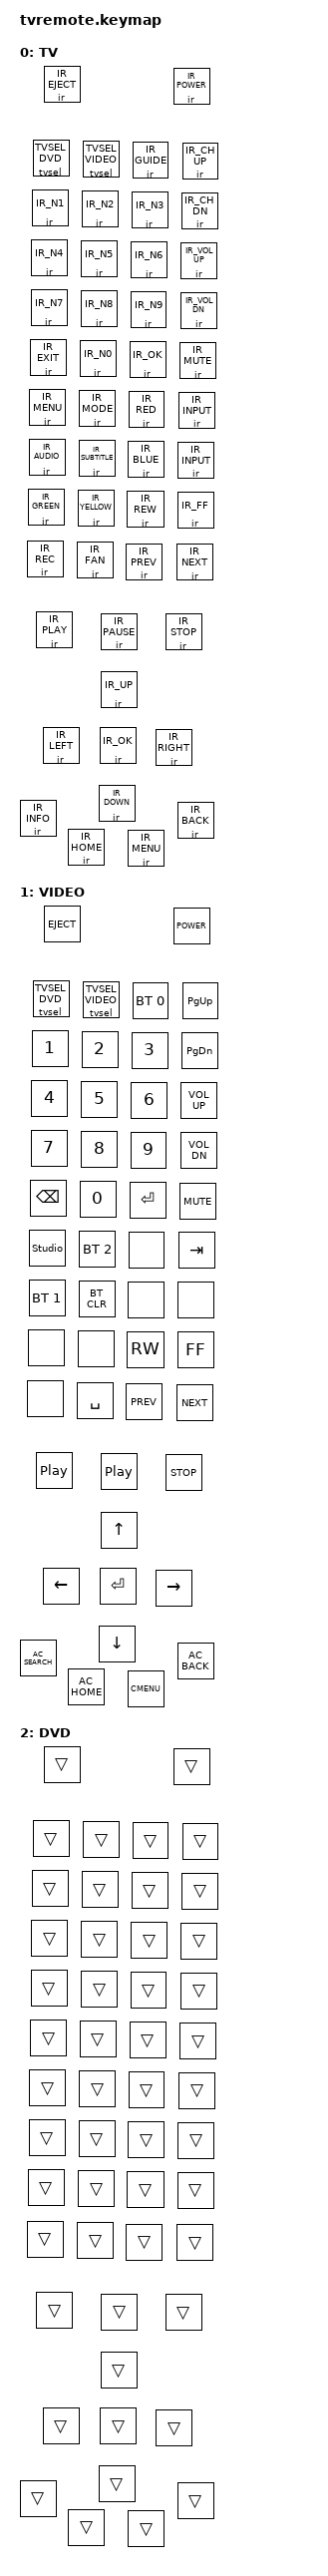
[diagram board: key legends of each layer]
/*
 * Sony RMT-V501F TV remote, modes as on the original (src/tvremote_mode.c):
 *   switch TV                         layer 0: infrared, code set 0
 *   switch DVD/VIDEO, SELECT VIDEO    layer 1: Bluetooth keyboard and media keys
 *   switch DVD/VIDEO, SELECT DVD      layer 2: infrared like TV, code set 1
 * Hold POWER while putting the batteries in (or plugging USB) for the
 * flashing bootloader.
 *
 * Generated by bt-remote/pcb/make_zmk.py: edit the tables there, not here.
 */

#include <behaviors.dtsi>
#include <behaviors/ir.dtsi>
#include <behaviors/tvremote.dtsi>
#include <dt-bindings/zmk/keys.h>
#include <dt-bindings/zmk/bt.h>

/ {
    keymap {
        compatible = "zmk,keymap";

        tv_layer {
            display-name = "TV";
            bindings = <
                // row 0
                &ir IR_N1              // 1
                &tvsel TVSEL_DVD       // DVD
                &ir IR_EJECT           // EJECT
                &tvsel TVSEL_VIDEO     // VIDEO
                &ir IR_GUIDE           // VCR PLUS
                &ir IR_POWER           // POWER
                &ir IR_CH_UP           // CH+

                // row 1
                &ir IR_N4              // 4
                &ir IR_N5              // 5
                &ir IR_N2              // 2
                &ir IR_N6              // 6
                &ir IR_N3              // 3
                &ir IR_VOL_UP          // VOL+
                &ir IR_CH_DN           // CH-

                // row 2
                &ir IR_EXIT            // CLEAR
                &ir IR_N7              // 7
                &ir IR_N0              // 0
                &ir IR_N8              // 8
                &ir IR_OK              // ENTER
                &ir IR_N9              // 9
                &ir IR_VOL_DN          // VOL-

                // row 3
                &ir IR_AUDIO           // AUDIO
                &ir IR_MENU            // SET UP
                &ir IR_SUBTITLE        // SUBTITLE
                &ir IR_MODE            // ANGLE
                &ir IR_RED             // REPEAT
                &ir IR_INPUT           // TV/VIDEO
                &ir IR_MUTE            // ZOOM

                // row 4
                &ir IR_REC             // REC
                &ir IR_GREEN           // REPEAT2
                &ir IR_YELLOW          // SKIP
                &ir IR_REW             // SCAN REW
                &ir IR_BLUE            // SURROUND
                &ir IR_FF              // SCAN F.F
                &ir IR_INPUT           // INPUT

                // row 5
                &ir IR_PLAY            // PLAY
                &ir IR_FAN             // SP/EP
                &ir IR_UP              // UP
                &ir IR_PAUSE           // PAUSE
                &ir IR_PREV            // PREV
                &ir IR_STOP            // STOP
                &ir IR_NEXT            // NEXT

                // row 6
                &ir IR_INFO            // DISPLAY
                &ir IR_LEFT            // LEFT
                &ir IR_HOME            // TOP MENU
                &ir IR_DOWN            // DOWN
                &ir IR_OK              // SELECT
                &ir IR_RIGHT           // RIGHT
                &ir IR_BACK            // RETURN

                // row 7
                &ir IR_MENU            // MENU
            >;
        };

        video_layer {
            display-name = "VIDEO";
            bindings = <
                // row 0
                &kp N1                 // 1
                &tvsel TVSEL_DVD       // DVD
                &kp C_EJECT            // EJECT
                &tvsel TVSEL_VIDEO     // VIDEO
                &bt BT_SEL 0           // VCR PLUS
                &kp C_POWER            // POWER
                &kp PG_UP              // CH+

                // row 1
                &kp N4                 // 4
                &kp N5                 // 5
                &kp N2                 // 2
                &kp N6                 // 6
                &kp N3                 // 3
                &kp C_VOL_UP           // VOL+
                &kp PG_DN              // CH-

                // row 2
                &kp BSPC               // CLEAR
                &kp N7                 // 7
                &kp N0                 // 0
                &kp N8                 // 8
                &kp RET                // ENTER
                &kp N9                 // 9
                &kp C_VOL_DN           // VOL-

                // row 3
                &bt BT_SEL 1           // AUDIO
                &studio_unlock         // SET UP
                &bt BT_CLR             // SUBTITLE
                &bt BT_SEL 2           // ANGLE
                &none                  // REPEAT
                &kp TAB                // TV/VIDEO
                &kp C_MUTE             // ZOOM

                // row 4
                &none                  // REC
                &none                  // REPEAT2
                &none                  // SKIP
                &kp C_RW               // SCAN REW
                &none                  // SURROUND
                &kp C_FF               // SCAN F.F
                &none                  // INPUT

                // row 5
                &kp C_PP               // PLAY
                &kp SPACE              // SP/EP
                &kp UP                 // UP
                &kp C_PP               // PAUSE
                &kp C_PREV             // PREV
                &kp C_STOP             // STOP
                &kp C_NEXT             // NEXT

                // row 6
                &kp C_AC_SEARCH        // DISPLAY
                &kp LEFT               // LEFT
                &kp C_AC_HOME          // TOP MENU
                &kp DOWN               // DOWN
                &kp RET                // SELECT
                &kp RIGHT              // RIGHT
                &kp C_AC_BACK          // RETURN

                // row 7
                &kp K_CMENU            // MENU
            >;
        };

        dvd_layer {
            display-name = "DVD";
            bindings = <
                // row 0
                &trans                 // 1
                &trans                 // DVD
                &trans                 // EJECT
                &trans                 // VIDEO
                &trans                 // VCR PLUS
                &trans                 // POWER
                &trans                 // CH+

                // row 1
                &trans                 // 4
                &trans                 // 5
                &trans                 // 2
                &trans                 // 6
                &trans                 // 3
                &trans                 // VOL+
                &trans                 // CH-

                // row 2
                &trans                 // CLEAR
                &trans                 // 7
                &trans                 // 0
                &trans                 // 8
                &trans                 // ENTER
                &trans                 // 9
                &trans                 // VOL-

                // row 3
                &trans                 // AUDIO
                &trans                 // SET UP
                &trans                 // SUBTITLE
                &trans                 // ANGLE
                &trans                 // REPEAT
                &trans                 // TV/VIDEO
                &trans                 // ZOOM

                // row 4
                &trans                 // REC
                &trans                 // REPEAT2
                &trans                 // SKIP
                &trans                 // SCAN REW
                &trans                 // SURROUND
                &trans                 // SCAN F.F
                &trans                 // INPUT

                // row 5
                &trans                 // PLAY
                &trans                 // SP/EP
                &trans                 // UP
                &trans                 // PAUSE
                &trans                 // PREV
                &trans                 // STOP
                &trans                 // NEXT

                // row 6
                &trans                 // DISPLAY
                &trans                 // LEFT
                &trans                 // TOP MENU
                &trans                 // DOWN
                &trans                 // SELECT
                &trans                 // RIGHT
                &trans                 // RETURN

                // row 7
                &trans                 // MENU
            >;
        };
    };
};
